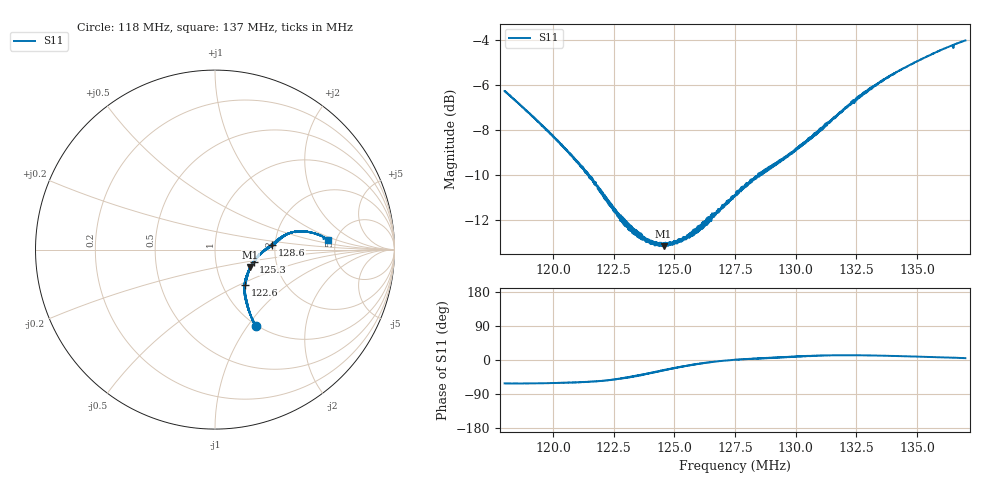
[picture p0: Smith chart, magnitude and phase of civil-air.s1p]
! Calibrated averaged scanner-service zoom
# Hz S RI R 50
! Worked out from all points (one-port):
!   2001 points, 118 MHz to 137 MHz, reference 50 ohm
!   lowest |S11| = -13.2 dB at 124.6 MHz (marker M1), VSWR 1.56, Z = 72.6 - j14.9 ohm
!   |S11| at or under -10 dB: 121.5 MHz to 128.5 MHz (7.001 MHz wide, 5.6 % of centre); 128.4672 MHz to 128.4996 MHz (32.4 kHz wide, 0.0252 % of centre); 128.5165 MHz to 128.5412 MHz (24.71 kHz wide, 0.0192 % of centre)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
!   S11 on the Smith chart (normalised r, x): 118 MHz: 0.98, -1.10; 122.6 MHz: 1.27, -0.54; 125.3 MHz: 1.53, -0.22; 128.6 MHz: 1.94, +0.11; 137 MHz: 4.27, +0.76
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1.18e8  0.23 -0.4282
1.190735e8  0.2031 -0.3795
1.20375e8  0.1842 -0.3184
1.21401e8  0.1728 -0.2707
1.220755e8  0.1635 -0.2324
1.226455e8  0.168 -0.1993
1.2275e8  0.1656 -0.1902
1.231395e8  0.1694 -0.1668
1.235955e8  0.1767 -0.1441
1.241085e8  0.1868 -0.1207
1.24555e8  0.1962 -0.0975
1.2484e8  0.2019 -0.0894
1.25125e8  0.2126 -0.0764
1.25277e8  0.2155 -0.0675
1.25714e8  0.2247 -0.0537
1.26075e8  0.235 -0.0399
1.267685e8  0.2591 -0.0164
1.275e8  0.2848 0.00288
1.280795e8  0.3047 0.0131
1.28602e8  0.3201 0.0243
1.29875e8  0.3525 0.0516
1.30616e8  0.3737 0.0663
1.312715e8  0.401 0.0872
1.3225e8  0.4428 0.099
1.333425e8  0.4933 0.1021
1.34625e8  0.5444 0.0933
1.3586e8  0.59 0.0773
1.37e8  0.6279 0.0537
